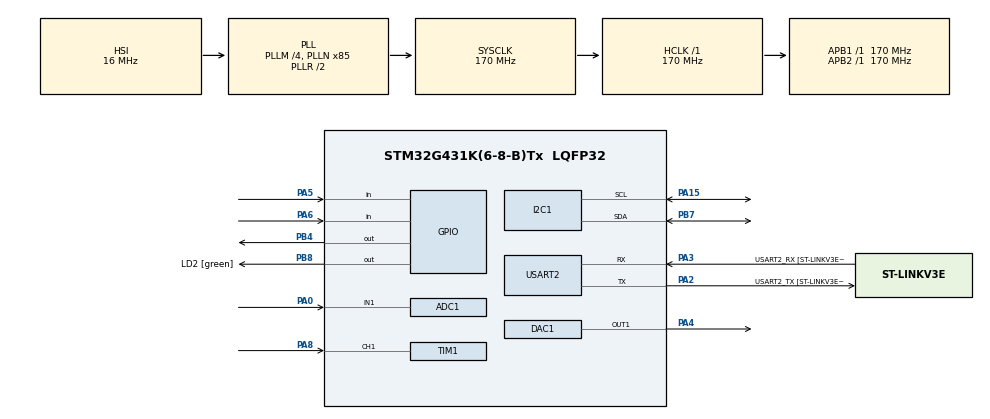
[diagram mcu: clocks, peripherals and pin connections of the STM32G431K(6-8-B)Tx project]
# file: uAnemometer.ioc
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ADC1.Channel-4\#ChannelRegularConversion=ADC_CHANNEL_1
ADC1.ClockPrescaler=ADC_CLOCK_ASYNC_DIV4
ADC1.ContinuousConvMode=DISABLE
ADC1.DMAContinuousRequests=ENABLE
ADC1.EnableInjectedConversion=DISABLE
ADC1.ExternalTrigConv=ADC_EXTERNALTRIG_T4_TRGO
ADC1.NbrOfConversionFlag=1
ADC1.OffsetNumber-4\#ChannelRegularConversion=ADC_OFFSET_NONE
ADC1.Overrun=ADC_OVR_DATA_PRESERVED
ADC1.OversamplingMode=DISABLE
ADC1.Rank-4\#ChannelRegularConversion=1
ADC1.Rank1_Channel=ADC_CHANNEL_1
ADC1.SamplingTime-4\#ChannelRegularConversion=ADC_SAMPLETIME_2CYCLES_5
ADC1.master=1
DAC1.DAC_SignedFormat-DAC_OUT1=DISABLE
DAC1.DAC_Trigger_OUT1-DAC_OUT1=DAC_TRIGGER_T2_TRGO
Dma.ADC1.4.Direction=DMA_PERIPH_TO_MEMORY
Dma.ADC1.4.EventEnable=DISABLE
Dma.ADC1.4.Instance=DMA1_Channel5
Dma.ADC1.4.MemDataAlignment=DMA_MDATAALIGN_HALFWORD
Dma.ADC1.4.MemInc=DMA_MINC_ENABLE
Dma.ADC1.4.Mode=DMA_CIRCULAR
Dma.ADC1.4.PeriphDataAlignment=DMA_PDATAALIGN_HALFWORD
Dma.ADC1.4.PeriphInc=DMA_PINC_DISABLE
Dma.ADC1.4.Polarity=HAL_DMAMUX_REQ_GEN_RISING
Dma.ADC1.4.Priority=DMA_PRIORITY_LOW
Dma.ADC1.4.RequestNumber=1
Dma.ADC1.4.SignalID=NONE
Dma.ADC1.4.SyncEnable=DISABLE
Dma.ADC1.4.SyncPolarity=HAL_DMAMUX_SYNC_NO_EVENT
Dma.ADC1.4.SyncRequestNumber=1
Dma.ADC1.4.SyncSignalID=NONE
Dma.DAC1_CH1.2.Direction=DMA_MEMORY_TO_PERIPH
Dma.DAC1_CH1.2.EventEnable=DISABLE
Dma.DAC1_CH1.2.Instance=DMA1_Channel3
Dma.DAC1_CH1.2.MemDataAlignment=DMA_MDATAALIGN_WORD
Dma.DAC1_CH1.2.MemInc=DMA_MINC_ENABLE
Dma.DAC1_CH1.2.Mode=DMA_CIRCULAR
Dma.DAC1_CH1.2.PeriphDataAlignment=DMA_PDATAALIGN_WORD
Dma.DAC1_CH1.2.PeriphInc=DMA_PINC_DISABLE
Dma.DAC1_CH1.2.Polarity=HAL_DMAMUX_REQ_GEN_RISING
Dma.DAC1_CH1.2.Priority=DMA_PRIORITY_LOW
Dma.DAC1_CH1.2.RequestNumber=1
Dma.DAC1_CH1.2.SignalID=NONE
Dma.DAC1_CH1.2.SyncEnable=DISABLE
Dma.DAC1_CH1.2.SyncPolarity=HAL_DMAMUX_SYNC_NO_EVENT
Dma.DAC1_CH1.2.SyncRequestNumber=1
Dma.DAC1_CH1.2.SyncSignalID=NONE
Dma.I2C1_TX.3.Direction=DMA_MEMORY_TO_PERIPH
Dma.I2C1_TX.3.EventEnable=DISABLE
Dma.I2C1_TX.3.Instance=DMA1_Channel4
Dma.I2C1_TX.3.MemDataAlignment=DMA_MDATAALIGN_BYTE
Dma.I2C1_TX.3.MemInc=DMA_MINC_ENABLE
Dma.I2C1_TX.3.Mode=DMA_NORMAL
Dma.I2C1_TX.3.PeriphDataAlignment=DMA_PDATAALIGN_BYTE
Dma.I2C1_TX.3.PeriphInc=DMA_PINC_DISABLE
Dma.I2C1_TX.3.Polarity=HAL_DMAMUX_REQ_GEN_RISING
Dma.I2C1_TX.3.Priority=DMA_PRIORITY_LOW
Dma.I2C1_TX.3.RequestNumber=1
Dma.I2C1_TX.3.SignalID=NONE
Dma.I2C1_TX.3.SyncEnable=DISABLE
Dma.I2C1_TX.3.SyncPolarity=HAL_DMAMUX_SYNC_NO_EVENT
Dma.I2C1_TX.3.SyncRequestNumber=1
Dma.I2C1_TX.3.SyncSignalID=NONE
Dma.Request0=TIM1_CH1
Dma.Request1=TIM1_CH2
Dma.Request2=DAC1_CH1
Dma.Request3=I2C1_TX
Dma.Request4=ADC1
Dma.Request5=USART2_RX
Dma.Request6=USART2_TX
Dma.TIM1_CH1.0.Direction=DMA_PERIPH_TO_MEMORY
Dma.TIM1_CH1.0.EventEnable=DISABLE
Dma.TIM1_CH1.0.Instance=DMA1_Channel1
Dma.TIM1_CH1.0.MemDataAlignment=DMA_MDATAALIGN_HALFWORD
Dma.TIM1_CH1.0.MemInc=DMA_MINC_ENABLE
Dma.TIM1_CH1.0.Mode=DMA_CIRCULAR
Dma.TIM1_CH1.0.PeriphDataAlignment=DMA_PDATAALIGN_HALFWORD
Dma.TIM1_CH1.0.PeriphInc=DMA_PINC_DISABLE
Dma.TIM1_CH1.0.Polarity=HAL_DMAMUX_REQ_GEN_RISING
Dma.TIM1_CH1.0.Priority=DMA_PRIORITY_HIGH
Dma.TIM1_CH1.0.RequestNumber=1
Dma.TIM1_CH1.0.SignalID=NONE
Dma.TIM1_CH1.0.SyncEnable=DISABLE
Dma.TIM1_CH1.0.SyncPolarity=HAL_DMAMUX_SYNC_NO_EVENT
Dma.TIM1_CH1.0.SyncRequestNumber=1
Dma.TIM1_CH1.0.SyncSignalID=NONE
Dma.TIM1_CH2.1.Direction=DMA_PERIPH_TO_MEMORY
Dma.TIM1_CH2.1.EventEnable=DISABLE
Dma.TIM1_CH2.1.Instance=DMA1_Channel2
Dma.TIM1_CH2.1.MemDataAlignment=DMA_MDATAALIGN_HALFWORD
Dma.TIM1_CH2.1.MemInc=DMA_MINC_ENABLE
Dma.TIM1_CH2.1.Mode=DMA_CIRCULAR
Dma.TIM1_CH2.1.PeriphDataAlignment=DMA_PDATAALIGN_HALFWORD
Dma.TIM1_CH2.1.PeriphInc=DMA_PINC_DISABLE
Dma.TIM1_CH2.1.Polarity=HAL_DMAMUX_REQ_GEN_RISING
Dma.TIM1_CH2.1.Priority=DMA_PRIORITY_HIGH
Dma.TIM1_CH2.1.RequestNumber=1
Dma.TIM1_CH2.1.SignalID=NONE
Dma.TIM1_CH2.1.SyncEnable=DISABLE
Dma.TIM1_CH2.1.SyncPolarity=HAL_DMAMUX_SYNC_NO_EVENT
Dma.TIM1_CH2.1.SyncRequestNumber=1
Dma.TIM1_CH2.1.SyncSignalID=NONE
Dma.USART2_RX.5.Direction=DMA_PERIPH_TO_MEMORY
Dma.USART2_RX.5.EventEnable=DISABLE
Dma.USART2_RX.5.Instance=DMA2_Channel2
Dma.USART2_RX.5.MemDataAlignment=DMA_MDATAALIGN_BYTE
Dma.USART2_RX.5.MemInc=DMA_MINC_ENABLE
Dma.USART2_RX.5.Mode=DMA_CIRCULAR
Dma.USART2_RX.5.PeriphDataAlignment=DMA_PDATAALIGN_BYTE
Dma.USART2_RX.5.PeriphInc=DMA_PINC_DISABLE
Dma.USART2_RX.5.Polarity=HAL_DMAMUX_REQ_GEN_RISING
Dma.USART2_RX.5.Priority=DMA_PRIORITY_LOW
Dma.USART2_RX.5.RequestNumber=1
Dma.USART2_RX.5.SignalID=NONE
Dma.USART2_RX.5.SyncEnable=DISABLE
Dma.USART2_RX.5.SyncPolarity=HAL_DMAMUX_SYNC_NO_EVENT
Dma.USART2_RX.5.SyncRequestNumber=1
Dma.USART2_RX.5.SyncSignalID=NONE
Dma.USART2_TX.6.Direction=DMA_MEMORY_TO_PERIPH
Dma.USART2_TX.6.EventEnable=DISABLE
Dma.USART2_TX.6.Instance=DMA2_Channel1
Dma.USART2_TX.6.MemDataAlignment=DMA_MDATAALIGN_BYTE
Dma.USART2_TX.6.MemInc=DMA_MINC_ENABLE
Dma.USART2_TX.6.Mode=DMA_NORMAL
Dma.USART2_TX.6.PeriphDataAlignment=DMA_PDATAALIGN_BYTE
Dma.USART2_TX.6.PeriphInc=DMA_PINC_DISABLE
Dma.USART2_TX.6.Polarity=HAL_DMAMUX_REQ_GEN_RISING
Dma.USART2_TX.6.Priority=DMA_PRIORITY_LOW
Dma.USART2_TX.6.RequestNumber=1
Dma.USART2_TX.6.SignalID=NONE
Dma.USART2_TX.6.SyncEnable=DISABLE
Dma.USART2_TX.6.SyncPolarity=HAL_DMAMUX_SYNC_NO_EVENT
Dma.USART2_TX.6.SyncRequestNumber=1
Dma.USART2_TX.6.SyncSignalID=NONE
FREERTOS.BinarySemaphores01=BinSem,Dynamic,NULL,Available
FREERTOS.Mutexes01=myMutex01,Dynamic,NULL,Available
FREERTOS.Tasks01=defaultTask,24,256,StartDefaultTask,Default,NULL,Dynamic,NULL,NULL;getTemp,16,128,StartgetTemp,Default,NULL,Dynamic,NULL,NULL;sendLCD,32,256,StartsendLCD,Default,NULL,Dynamic,NULL,NULL;getPulseW,48,256,StartgetPulseW,Default,NULL,Dynamic,NULL,NULL
FREERTOS.configTOTAL_HEAP_SIZE=4500
FREERTOS.configUSE_NEWLIB_REENTRANT=1
I2C1.Speed=100
I2C1.Timing=0x40B285C2
Mcu.Family=STM32G4
Mcu.Name=STM32G431K(6-8-B)Tx
Mcu.Package=LQFP32
NVIC.ADC1_2_IRQn=true\:5\:0\:false\:false\:true\:true\:true\:true\:true
NVIC.DMA1_Channel1_IRQn=true\:5\:0\:false\:false\:true\:true\:false\:true\:true
NVIC.DMA1_Channel2_IRQn=true\:5\:0\:false\:false\:true\:true\:false\:true\:true
NVIC.DMA1_Channel3_IRQn=true\:5\:0\:false\:false\:true\:true\:false\:true\:true
NVIC.DMA1_Channel4_IRQn=true\:5\:0\:false\:false\:true\:true\:false\:true\:true
NVIC.DMA1_Channel5_IRQn=true\:5\:0\:false\:false\:true\:true\:false\:true\:true
NVIC.DMA2_Channel1_IRQn=true\:5\:0\:false\:false\:true\:true\:false\:true\:true
NVIC.DMA2_Channel2_IRQn=true\:5\:0\:false\:false\:true\:true\:false\:true\:true
NVIC.I2C1_ER_IRQn=true\:5\:0\:false\:false\:true\:true\:true\:true\:true
NVIC.I2C1_EV_IRQn=true\:5\:0\:true\:false\:true\:true\:true\:true\:true
NVIC.PriorityGroup=NVIC_PRIORITYGROUP_4
NVIC.TIM1_CC_IRQn=true\:5\:0\:false\:false\:true\:true\:true\:true\:true
NVIC.TIM3_IRQn=true\:15\:0\:false\:false\:true\:false\:false\:true\:true
NVIC.TIM6_DAC_IRQn=true\:5\:0\:false\:false\:true\:false\:false\:true\:true
NVIC.TimeBase=TIM3_IRQn
NVIC.TimeBaseIP=TIM3
PA0.Mode=IN1-Single-Ended
PA0.Signal=ADC1_IN1
PA13.GPIO_Label=T_SWDIO
PA13.Mode=Trace_Asynchronous_SW
PA13.Signal=SYS_JTMS-SWDIO
PA14.GPIO_Label=T_SWCLK
PA14.Mode=Trace_Asynchronous_SW
PA14.Signal=SYS_JTCK-SWCLK
PA15.Mode=I2C
PA15.Signal=I2C1_SCL
PA2.GPIO_Label=USART2_TX [ST-LINKV3E_VCP_RX]
PA2.Mode=Asynchronous
PA2.Signal=USART2_TX
PA3.GPIO_Label=USART2_RX [ST-LINKV3E_VCP_TX]
PA3.Mode=Asynchronous
PA3.Signal=USART2_RX
PA4.Signal=COMP_DAC11_group
PA5.Signal=GPIO_Input
PA6.Signal=GPIO_Input
PA8.Signal=S_TIM1_CH1
PB3.GPIO_Label=T_SWO
PB3.Mode=Trace_Asynchronous_SW
PB3.Signal=SYS_JTDO-SWO
PB4.Signal=GPIO_Output
PB6.Signal=S_TIM4_CH1
PB7.Mode=I2C
PB7.Signal=I2C1_SDA
PB8-BOOT0.GPIO_Label=LD2 [green]
PB8-BOOT0.Signal=GPIO_Output
ProjectManager.HeapSize=0x200
ProjectManager.StackSize=0x400
ProjectManager.TargetToolchain=STM32CubeIDE
RCC.ADC12Freq_Value=170000000
RCC.AHBFreq_Value=170000000
RCC.APB1Freq_Value=170000000
RCC.APB1TimFreq_Value=170000000
RCC.APB2Freq_Value=170000000
RCC.APB2TimFreq_Value=170000000
RCC.CortexFreq_Value=170000000
RCC.EXTERNAL_CLOCK_VALUE=12288000
RCC.HCLKFreq_Value=170000000
RCC.HSE_VALUE=8000000
RCC.HSI48_VALUE=48000000
RCC.HSI_VALUE=16000000
RCC.LSE_VALUE=32768
RCC.PLLM=RCC_PLLM_DIV4
RCC.PLLN=85
RCC.SYSCLKFreq_VALUE=170000000
RCC.SYSCLKSource=RCC_SYSCLKSOURCE_PLLCLK
RCC.USBFreq_Value=170000000
RCC.VCOOutputFreq_Value=340000000
SH.COMP_DAC11_group.0=DAC1_OUT1,DAC_OUT1
SH.S_TIM1_CH1.0=TIM1_CH1,Input_Capture1_from_TI1
SH.S_TIM1_CH1.1=TIM1_CH1,TriggerSource_TI1FP1
SH.S_TIM4_CH1.0=TIM4_CH1
TIM1.AutoReloadPreload=TIM_AUTORELOAD_PRELOAD_ENABLE
TIM1.Channel-Input_Capture1_from_TI1=TIM_CHANNEL_1
TIM1.Channel-Input_Capture2_from_TI1_63=TIM_CHANNEL_2
TIM1.ICPolarity_CH2=TIM_INPUTCHANNELPOLARITY_FALLING
TIM1.PeriodNoDither=65536 - 1
TIM1.Prescaler=0
TIM2.Channel-Output\ Compare1\ No\ Output=TIM_CHANNEL_1
TIM2.PeriodNoDither=4-1
TIM2.Prescaler=17-1
TIM2.TIM_MasterOutputTrigger=TIM_TRGO_UPDATE
TIM4.AutoReloadPreload=TIM_AUTORELOAD_PRELOAD_ENABLE
TIM4.Channel-Output\ Compare1\ No\ Output=TIM_CHANNEL_1
TIM4.ClockDivision=TIM_CLOCKDIVISION_DIV1
TIM4.CounterMode=TIM_COUNTERMODE_UP
TIM4.PeriodNoDither=6800-1
TIM4.Prescaler=0
TIM4.PulseNoDither_1=6800/2-1
TIM4.TIM_MasterOutputTrigger=TIM_TRGO_UPDATE
USART2.DMADisableonRxErrorParam=ADVFEATURE_DMA_ENABLEONRXERROR
USART2.OneBitSampling=UART_ONE_BIT_SAMPLE_ENABLE
USART2.VirtualMode-Asynchronous=VM_ASYNC
USART2.WordLength=WORDLENGTH_8B
VP_FREERTOS_VS_CMSIS_V2.Mode=CMSIS_V2
VP_SYS_VS_DBSignals.Mode=DisableDeadBatterySignals
VP_SYS_VS_tim3.Mode=TIM3
VP_TIM1_VS_ClockSourceINT.Mode=Internal
VP_TIM1_VS_ControllerModeReset.Mode=Reset Mode
VP_TIM1_VS_indirect_ch1.Mode=Input_Capture2_from_TI1_63
VP_TIM2_VS_ClockSourceINT.Mode=Internal
VP_TIM2_VS_no_output1.Mode=Output Compare1 No Output
VP_TIM4_VS_ClockSourceINT.Mode=Internal
VP_TIM4_VS_no_output1.Mode=Output Compare1 No Output
board=NUCLEO-G431KB

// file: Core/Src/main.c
/* USER CODE BEGIN Header */
/**
  ******************************************************************************
  * @file           : main.c
  * @brief          : Main program body
  ******************************************************************************
  * @attention
  *
  * Copyright (c) 2024 STMicroelectronics.
  * All rights reserved.
  *
  * This software is licensed under terms that can be found in the LICENSE file
  * in the root directory of this software component.
  * If no LICENSE file comes with this software, it is provided AS-IS.
  *
  ******************************************************************************
  */
/* USER CODE END Header */
#include "main.h"
#include "cmsis_os.h"

/* USER CODE BEGIN Includes */
#include "stdio.h"
#include <stdlib.h>
#include <inttypes.h>
#include <stdbool.h>
#include "math.h"
#include "i2c-lcd.h"

/*
#include "FreeRTOS.h"
#include "task.h"
//#include "timers.h"
#include "queue.h"
#include "semphr.h"
*/
//#include "event_groups.h"
/* USER CODE END Includes */

/* USER CODE BEGIN PD */
#define nShutdownDampHigh HAL_GPIO_WritePin(GPIOB, GPIO_PIN_4, GPIO_PIN_SET)
#define nShutdownDampLow HAL_GPIO_WritePin(GPIOB, GPIO_PIN_4, GPIO_PIN_RESET)

/* USER CODE END PD */

ADC_HandleTypeDef hadc1;
DMA_HandleTypeDef hdma_adc1;

DAC_HandleTypeDef hdac1;
DMA_HandleTypeDef hdma_dac1_ch1;

I2C_HandleTypeDef hi2c1;
DMA_HandleTypeDef hdma_i2c1_tx;

TIM_HandleTypeDef htim1;
TIM_HandleTypeDef htim2;
TIM_HandleTypeDef htim4;
DMA_HandleTypeDef hdma_tim1_ch1;
DMA_HandleTypeDef hdma_tim1_ch2;

UART_HandleTypeDef huart2;
DMA_HandleTypeDef hdma_usart2_rx;
DMA_HandleTypeDef hdma_usart2_tx;

/* Definitions for defaultTask */
osThreadId_t defaultTaskHandle;
const osThreadAttr_t defaultTask_attributes = {
  .name = "defaultTask",
  .priority = (osPriority_t) osPriorityNormal,
  .stack_size = 256 * 4
};
/* Definitions for getTemp */
osThreadId_t getTempHandle;
const osThreadAttr_t getTemp_attributes = {
  .name = "getTemp",
  .priority = (osPriority_t) osPriorityBelowNormal,
  .stack_size = 128 * 4
};
/* Definitions for sendLCD */
osThreadId_t sendLCDHandle;
const osThreadAttr_t sendLCD_attributes = {
  .name = "sendLCD",
  .priority = (osPriority_t) osPriorityAboveNormal,
  .stack_size = 256 * 4
};
/* Definitions for getPulseW */
/*osThreadId_t getPulseWHandle;
const osThreadAttr_t getPulseW_attributes = {
  .name = "getPulseW",
  .priority = (osPriority_t) osPriorityRealtime,
  .stack_size = 256 * 4
};*/
/* Definitions for myMutex01 */
osMutexId_t myMutex01Handle;
const osMutexAttr_t myMutex01_attributes = {
  .name = "myMutex01"
};
/* Definitions for BinSem */
osSemaphoreId_t BinSemHandle;
const osSemaphoreAttr_t BinSem_attributes = {
  .name = "BinSem"
};
/* USER CODE BEGIN PV */
__IO uint16_t   aADCxConvertedData[ADC_CONVERTED_DATA_BUFFER_SIZE]; /* ADC conversion results table of regular group, channel on rank1 */
__IO uint16_t   uhADCxConvertedData_Injected;                        /* ADC conversion result of injected group, channel on rank1 */

__IO uint16_t   uhADCxConvertedData_Regular_Avg;       /* The average of the ADC conversion results table of regular group, channel on rank1 */

/* USER CODE END PV */

void SystemClock_Config(void);
static void MX_GPIO_Init(void);
static void MX_DMA_Init(void);
static void MX_USART2_UART_Init(void);
static void MX_TIM4_Init(void);
static void MX_TIM1_Init(void);
static void MX_ADC1_Init(void);
static void MX_DAC1_Init(void);
static void MX_TIM2_Init(void);
static void MX_I2C1_Init(void);
void StartDefaultTask(void *argument);
void StartgetTemp(void *argument);
void StartsendLCD(void *argument);
void StartgetPulseW(void *argument);

/* USER CODE BEGIN PFP */
void blinkLED ();								//blink the led function
char *scanInp(void);							//scan user input to toggle the state machine
//void startSpeaker(bool start);			//start speaker function for pwm squared wave output.  replaced by dac sine wave.
float *calTime(void);						//calculate the time delay, currently not in used
float *delta_T_alg (float pulseW);		//calculate the delta T using a paper's algorithm, but it is not very useful
float *getTemp(void);						//adc calculate temperature
void startSineW(bool start);				//start the dac sinewave
void lcd_disp(void);							//lcd display
void adc_dma(void);						//adc dma

#define PUTCHAR_PROTOTYPE int __io_putchar(int ch)
#define __USE_C99_MATH

//data buffer for rising and falling DMA
#define numval 1
#define TIMCLOCK 170000000
#define PSCALAR 16
#define MIN(a,b) ((a) < (b) ? (a) : (b))
#define MAX(a,b) ((a) > (b) ? (a) : (b))

int riseCaptured = 0;
int fallCaptured = 0;
uint32_t riseData[numval];
uint32_t fallData[numval];
int isMeasured = 0;

/* USER CODE END PFP */

/* USER CODE BEGIN 0 */

//parameter for pulse width cal
float tim1, tim2;
uint8_t IsFirstCaptured = 0;
//100ns per tick when fclk = 10Mhz; // 5.882ns/tick if 170Mhz clock; //23.52ns/tick at 42.5MHz; 29.41ns/tick @34Mhz; 21.25Mhz @47.06ns/tick
float timeFactor = 58.82; //17mhz @ 58.82ns ; at10.625Mhz, 94.12ns/ tick
float deltaT = 0;
float pulseW = 0;

#define DIST  0.02 					// dist = 0.02m
#define FREQ 22000.0  				//11khz from the pll chip  , but sound freq is 22khz
float cal_val = 0;						//calibrated value - usually its the path difference.
float v_sound = 343; 				// speed of sound  is 343m/s, will need to incorporate temperature here,  c = 331+0.61T,
float lambda = 0;						//wavelength of the sound depending on temperature
float temp = 0;							//temperature of the air
float pathDiff = 0;  					//k = 0.7288 , d/lambda,  if d=0.2m, k=22.75,  *made pathDiff to 1 eliminated for testing, k=0.881 by experiment
float windspeed = 0;					// the wind velocity

//code for getchar and putchar properly display
/*volatile uint32_t gGetCharCount = 0;
int __io_getchar(void)
{
	++gGetCharCount;
	return 42;
}*/

/*void HAL_TIM_PeriodElapsedCallback(TIM_HandleTypeDef *htim){
	HAL_GPIO_TogglePin(GPIOB, GPIO_PIN_6); //pin 6 are for rising edges
}*/

void blinkLED ()
{
	HAL_GPIO_TogglePin(LD2_GPIO_Port, LD2_Pin);
	HAL_Delay(500);
	return;
}
//usart in dma mode
uint8_t RxData[1];
int HTC = 0, FTC = 0;

char inp;

void HAL_UART_RxHalfCpltCallback(UART_HandleTypeDef *huart)
{
	HTC=1;  // half transfer complete callback was called
	FTC=0;
}
void HAL_UART_RxCpltCallback(UART_HandleTypeDef *huart)
{
	  HTC=0;
	  FTC=1;
}

void uart_dma(void);
void uart_dma(void)
{
	HAL_UARTEx_ReceiveToIdle_DMA(&huart2, RxData, 1);
	HAL_UART_Transmit_DMA(&huart2, RxData, 1);

/*	    if (HTC==1)
	    {
	      HTC = 0;
	      HAL_UART_DMAStop(&huart2);
	      //HAL_UART_Receive_DMA(&huart2, RxData, 1);
	      HAL_UARTEx_ReceiveToIdle_DMA(&huart2, RxData, 1);
	    }

	  else if (FTC==1)
	  {
	     FTC = 0;
	     HAL_UART_DMAStop(&huart2);
	    // HAL_UART_Receive_DMA(&huart2, RxData, 1);
	     HAL_UARTEx_ReceiveToIdle_DMA(&huart2, RxData, 1);
	  }
	  else
	  	  {
	  		  HTC = 0;
	  		  FTC = 0;
	  		  HAL_UART_DMAStop(&huart2);
	  		  //HAL_UART_Receive_DMA(&huart2, RxData, 1);
	  		HAL_UARTEx_ReceiveToIdle_DMA(&huart2, RxData, 1);
	  	  }*/
	    inp = RxData[0];
}

// using putchar and getchar
char *scanInp(void)
{
	char *ch_buf = malloc (sizeof (char) * 1);
	scanf("%1s", ch_buf);
	//printf("you have entered %s\n\r", ch_buf);   //no longer need to print what have entered
	return ch_buf;
}

//function to start and stop the speaker
/*void startSpeaker(bool start)
{
	if (!start){
		  //start pwm for 25khz - freq = (fmas/psc)/period
		  //HAL_TIM_PWM_Start(&htim4, TIM_CHANNEL_1);  //start TIM4 pwm ch1 - macro expan 0x00000000U
		  //HAL_GPIO_WritePin(GPIOB, GPIO_PIN_4, GPIO_PIN_SET);
		  nShutdownDampLow;
	}
	else {
		nShutdownDampHigh;
		//HAL_TIM_PWM_Stop(&htim4, TIM_CHANNEL_1);
	}
	  return;
}*/

//put char prototype for printf function
/*

 PUTCHAR_PROTOTYPE
{
   //Place your implementation of fputc here
  // e.g. write a character to the USART1 and Loop until the end of transmission
  HAL_UART_Transmit(&huart2, (uint8_t *)&ch, 1, 0xFFFF);  //use dma to speed it up
//	HAL_UART_Transmit_DMA(&huart2, (uint8_t *)&ch, 1);
  return ch;
}

//prototype for scanf function************************************************

#ifdef __GNUC__
#define GETCHAR_PROTOTYPE int __io_getchar(void)
#else
#define GETCHAR_PROTOTYPE int fgetc(FILE *f)
#endif

GETCHAR_PROTOTYPE
{
  uint8_t ch = 0;
  // Clear the Overrun flag just before receiving the first character
  __HAL_UART_CLEAR_OREFLAG(&huart2);
   //Wait for reception of a character on the USART RX line and echo this
   // character on console
  HAL_UART_Receive(&huart2, (uint8_t *)&ch, 1, 100);
  HAL_UART_Transmit(&huart2, (uint8_t *)&ch, 1, 100);
//  HAL_UART_Receive_DMA(&huart2, &ch, 1);
//  HAL_UART_Transmit_DMA(&huart2, &ch, 1);

  return ch;
}
*/

/************************************************************************************/

// a callback function ** not sure where the pin capture is used for this callback  -- this needs another approach
//this uses change 1 to measure the rising and falling edges without DMA
/*void HAL_TIM_IC_CaptureCallback(TIM_HandleTypeDef *htim)
{

	if (htim->Channel == HAL_TIM_ACTIVE_CHANNEL_1)
	{
		if (IsFirstCaptured == 0)
		{
			tim1 = HAL_TIM_ReadCapturedValue(htim, TIM_CHANNEL_1);
			IsFirstCaptured = 1;
			//__HAL_TIM_SET_CAPTUREPOLARITY(htim, TIM_CHANNEL_1, TIM_INPUTCHANNELPOLARITY_FALLING);
		}
		else
		{
			tim2 = HAL_TIM_ReadCapturedValue(htim, TIM_CHANNEL_1);
			//__HAL_TIM_SET_COUNTER(htim, 0);
			if (tim2 > tim1)
			{
				deltaT = tim2 - tim1;
			}
			else if (tim1 > tim2)
			{
				deltaT = (0xffff  - tim1) + tim2;
			}

			pulseW = deltaT * (float)(timeFactor/1000000000.f);
			//windspeed = DIST/(pulseW*cal_val);  //d/(t*path diff)

			__HAL_TIM_SET_COUNTER(htim, 0);
			IsFirstCaptured = 0;
			//__HAL_TIM_SET_CAPTUREPOLARITY(htim, TIM_CHANNEL_1, TIM_INPUTCHANNELPOLARITY_RISING);
			//__HAL_TIM_DISABLE_IT(&htim1, TIM_IT_CC1);
		}
	}
}*/

void pulseWavg (float pulse_in);
//calculate the pulseW average  - this is to remove the noise and jittering in the pulse - oct 22, 2024
float pulseW_arr[100];
float pulseW_avg = 0;
uint8_t i = 0 ;float sum = 0;
float pulseW_base = 0;
float realDelay = 0;
float pulseW_min = 0;
float pulseW_min_arr[10];
float pulseW_max = 0;
float pulseW_max_arr[10];
void pulseWavg (float pulse_in)
{
	if (pulse_in >= 0.000008 && pulse_in <=0.000180)
	{
		for (i = 0; i < 100; i++)
		{
			pulseW_arr[i] =roundf( pulse_in*10000000)/10000000;
			sum += pulseW_arr[i];
			//pulseW_min = MIN(pulseW_arr[i], pulseW_arr[i-1]);
			//pulseW_min_arr[i] = pulseW_min;
			//pulseW_max = MAX (pulseW_arr[i], pulseW_arr[i-1]);
			//pulseW_max_arr[i] = pulseW_max;
		}
		pulseW_avg = sum/100.f;

		//realDelay = *delta_T_alg(pulseW_avg);

		//windspeed = roundf (fabs((DIST/(realDelay * cal_val)) - v_sound)*10)/10; //abs converts to int
		windspeed = roundf((fabs(DIST/(pulseW_avg*cal_val) - DIST/(pulseW_base*cal_val)))*100)/100;
		sum = 0;
/*		if ( i < 10)
		{
			pulseW_arr[i] = pulse_in;
			sum += pulseW_arr[i];
			i++;
			if (i == 9)
			{
				pulseW_avg = sum/10.f;
				windspeed = roundf (fabs((DIST/(pulseW_avg*cal_val)) - v_sound)*10)/10; //abs converts to int
			}
		}
		if (i > 9 )
		{
			i = 0;
			sum = 0;
		}*/

	}
}

//time difference algorithm taking from a paper, but it is not very useful and it is not in used
float T = 1/FREQ;
float pluseW_pre =0;
float deltaT_pre = 0;
float deltaT_prim = 0;

float *delta_T_alg (float deltaT)
{
	//T = 1/FREQ;
	if (deltaT <= deltaT_pre/1000000000 + T)
	{
		deltaT_prim = deltaT;
	}
	else {
		deltaT_prim = deltaT - T;
	}
	deltaT_pre = deltaT_prim;
	return &deltaT_pre;
}

float pll_pulsePeriod;
//Tim1 input capture callback function for calculating the pulseW
void HAL_TIM_IC_CaptureCallback(TIM_HandleTypeDef *htim)
{
	/*The way it works, is that rising edge of PWM signal on TIM1_CH1 pin captures PWM period in CC1 and resets timer to 0. The falling edge of the 	same signal captures pulse length in CC2. The DMA then transfers captured values into two memory locations. Since DMA is configured in circular 	mode next capture will override previous values in the same locations.*/
	pll_pulsePeriod = HAL_TIM_ReadCapturedValue(htim, TIM_CHANNEL_1);  //TIM1_CH1 pin captures PWM period in CC1 and resets timer to 0.
	deltaT	= HAL_TIM_ReadCapturedValue(htim, TIM_CHANNEL_2); //The falling edge of the same signal captures pulse length in CC2
	pulseW = deltaT * (float)(timeFactor/1000000000.f);

	}

/*void windspeed_ave(void);

void windspeed_ave (void)
{
	float sum = 0;
	//need more work
	for (uint8_t j = 0; j <=99; j++)
	{
			windspeed_arr[j] = windspeed;
			sum += windspeed_arr[j];
	}
	windpseed_avg = sum/100;
}*/

//adc in dma mode -get adc value for temperature

uint32_t adc_val[1];
void adc_dma(void)
{
	// calibrate ADC for better accuracy and start it w/ interrupt
	 if(HAL_ADCEx_Calibration_Start(&hadc1, ADC_SINGLE_ENDED) != HAL_OK)
	 {
		 Error_Handler();
	}
	 /*if(HAL_ADC_Start_IT(&hadc1) != HAL_OK)
	 {
	 	 Error_Handler();
	}*/
	 // start pwm generation
	if(HAL_TIM_PWM_Start(&htim4, TIM_CHANNEL_1) != HAL_OK)
	{
		Error_Handler();
	 }
	if(HAL_ADC_Start_DMA(&hadc1, (uint32_t*)adc_val, 1) != HAL_OK)
	 {
		Error_Handler();
	}
	HAL_ADCEx_Calibration_Start(&hadc1, ADC_SINGLE_ENDED);
	HAL_ADC_Start_DMA(&hadc1, (uint32_t*)adc_val, 1);

	HAL_TIM_PWM_Start(&htim4, TIM_CHANNEL_1);
	return;
}

#define V_REF 3300 // mV
#define OFFSET 0.5
float adc_val_f;

float *getTemp(void)
{
	float reading_mV = 0;
	//HAL_ADC_Start_IT(&hadc1); //start the adc in interrupt mode
	//HAL_ADC_Start_DMA(&hadc1, &buffer, 1);  //start in DMA mode

	//using polling method***********************************/
/*
	HAL_ADC_Start(&hadc1); // start the adc
	HAL_ADC_PollForConversion(&hadc1, 100); // poll for conversion
	adc_val = HAL_ADC_GetValue(&hadc1); // get the adc value
	temp = (adc_val/4095) *(125-40);
	HAL_ADC_Stop(&hadc1); // stop adc
*/
	/********************************************************************/
	//usig DMA method
	//HAL_ADCEx_Calibration_Start(&hadc1, ADC_SINGLE_ENDED);
	//HAL_ADC_Start_DMA(&hadc1, (uint32_t*)&adc_val, 1);
	//adc_val_f = adc_val[0];
//	HAL_ADC_Start_DMA(&hadc1, (uint32_t*)&adc_val, 1);
	//temp = (adc_val_f/4095) *(125 - -40);
	reading_mV = adc_val[0] *  V_REF  / 4095 ;
	temp = roundf((reading_mV - 500) / 10); // 10mV/degree_C
	return &temp;
}

//dac sine wave for the 25khz ultrasonic speaker
//dac sine**************************************************/
uint32_t sine_val[100];
#define PI 3.1415926
float dac_val = 1.2;
uint32_t var;
float k = 0.0; // wave number
void startSineW(bool start)
{
	if (!start)
	{
		//HAL_TIM_Base_Stop(&htim2);
		HAL_DAC_Stop_DMA(&hdac1, DAC1_CHANNEL_1);
	}
	else {
		 //HAL_TIM_Base_Start(&htim2);
		 HAL_DAC_Start_DMA(&hdac1, DAC1_CHANNEL_1, sine_val, 100, DAC_ALIGN_12B_R);
		 for (int i = 0; i < 100; i++)
		 {
			 sine_val[i] = ((sin(i*2*PI/100) + 1)*(4096/2));
		 }
	}
}
/******************************************************************/

// lcd display*****************************************************/  something is wrong with this lcd code, need to fix the buffering from flooding while not affecting the pulse width measurement
//char *fltChar = malloc (sizeof (char) * 8);

void lcd_disp(void)
{
	//char * fltChar = malloc (sizeof (char) * 8);
	//char *fltChar2 = malloc (sizeof(char) * 7);

	//lcd_send_cmd (0x80);
	char fltChar [8];
	sprintf(fltChar, "%.4f", windspeed);
	lcd_put_cur(0,11);

	//lcd_send_string("Windspeed=");
	//lcd_send_data((windspeed/10) +48);
	lcd_send_string(fltChar);
	lcd_send_string(" ");

/*	sprintf(fltChar2, "%.6f", pulseW);
	lcd_put_cur(1,8);
	lcd_send_string (fltChar2);
	lcd_send_string(" ");*/
	//lcd_put_cur(1,0);
	//lcd_send_string("m/s");
	osDelay(500);
	return;
}
/********************************************************************/

 enum State {IDLE = 0, START = 1, CALTIME = 2, STOP = 3}; //define the number of states
 char State = IDLE;

/* void SemaphorTake ()
 {
	 HAL_Delay(200);
 }*/

/* USER CODE END 0 */

int main(void)
{

  /* USER CODE BEGIN 1 */

	setvbuf(stdin, NULL, _IONBF, 0);

//	lambda = v_sound/FREQ;  //wavelength
//	pathDiff = (DIST/lambda)-0.5;  //destructive interference, L/lambda-0.5=delta_L

  /* USER CODE END 1 */

  /* MCU Configuration--------------------------------------------------------*/

  /* Reset of all peripherals, Initializes the Flash interface and the Systick. */
  HAL_Init();

  /* Configure the system clock */
  SystemClock_Config();

  /* Initialize all configured peripherals */
  MX_GPIO_Init();
  MX_DMA_Init();
  MX_USART2_UART_Init();
  MX_TIM4_Init();
  MX_TIM1_Init();
  MX_ADC1_Init();
  MX_DAC1_Init();
  MX_TIM2_Init();
  MX_I2C1_Init();
  /* USER CODE BEGIN 2 */
  //HAL_TIM_IC_Start_IT(&htim1, TIM_CHANNEL_1);

	HAL_TIM_IC_Start_DMA(&htim1, TIM_CHANNEL_1, riseData, numval); //this starts the DMA process for TIM1 input capture - CC1 is period
	HAL_TIM_IC_Start_DMA(&htim1, TIM_CHANNEL_2, fallData, numval); //this starts the DMA process for TIM1 input capture - CC2 is pulse duration

  //say something
  //uart_buf_len = sprintf(uart_buf, "Timer test\r\n");
  //HAL_UART_Transmit(&huart2, (uint8_t *)uart_buf, uart_buf_len, 100);

  //start pwm timer
  //HAL_TIM_PWM_Start(&htim4, TIM_CHANNEL_1);  //start TIM4 pwm ch1 - macro expan 0x00000000U

  lcd_init(); 														//initialize the lcd
  //start timer 2 for the sinewave
  HAL_TIM_Base_Start(&htim2);

  //start adc dma
  adc_dma();
  //start uarat dma
  //HAL_UART_Receive_DMA(&huart2, RxData, 1);
  uart_dma();

  //preprint something on the lcd
  lcd_put_cur(0,0);
  lcd_send_string("W_vel[m/s]=");

  /* USER CODE END 2 */

  /* Init scheduler */
  osKernelInitialize();
  /* Create the mutex(es) */
  /* creation of myMutex01 */
  myMutex01Handle = osMutexNew(&myMutex01_attributes);

  /* Create the semaphores(s) */
  /* creation of BinSem */
  BinSemHandle = osSemaphoreNew(1, 1, &BinSem_attributes);

  /* Create the thread(s) */
  /* creation of defaultTask */
  defaultTaskHandle = osThreadNew(StartDefaultTask, NULL, &defaultTask_attributes);

  /* creation of getTemp */
  getTempHandle = osThreadNew(StartgetTemp, NULL, &getTemp_attributes);

  /* creation of sendLCD */
  sendLCDHandle = osThreadNew(StartsendLCD, NULL, &sendLCD_attributes);

  /* creation of getPulseW */
//  getPulseWHandle = osThreadNew(StartgetPulseW, NULL, &getPulseW_attributes);

  /* Start scheduler */
  osKernelStart();

  /* We should never get here as control is now taken by the scheduler */

  /* Infinite loop */
  /* USER CODE BEGIN WHILE */
  while (1)
  {
	  //blinkLED();  //call the blinkLED function - disable the blink to save processing power

    /* USER CODE END WHILE */

  }
}

void SystemClock_Config(void)
{
  RCC_OscInitTypeDef RCC_OscInitStruct = {0};
  RCC_ClkInitTypeDef RCC_ClkInitStruct = {0};

  /** Configure the main internal regulator output voltage
  */
  HAL_PWREx_ControlVoltageScaling(PWR_REGULATOR_VOLTAGE_SCALE1_BOOST);

  /** Initializes the RCC Oscillators according to the specified parameters
  * in the RCC_OscInitTypeDef structure.
  */
  RCC_OscInitStruct.OscillatorType = RCC_OSCILLATORTYPE_HSI;
  RCC_OscInitStruct.HSIState = RCC_HSI_ON;
  RCC_OscInitStruct.HSICalibrationValue = RCC_HSICALIBRATION_DEFAULT;
  RCC_OscInitStruct.PLL.PLLState = RCC_PLL_ON;
  RCC_OscInitStruct.PLL.PLLSource = RCC_PLLSOURCE_HSI;
  RCC_OscInitStruct.PLL.PLLM = RCC_PLLM_DIV4;
  RCC_OscInitStruct.PLL.PLLN = 85;
  RCC_OscInitStruct.PLL.PLLP = RCC_PLLP_DIV2;
  RCC_OscInitStruct.PLL.PLLQ = RCC_PLLQ_DIV2;
  RCC_OscInitStruct.PLL.PLLR = RCC_PLLR_DIV2;
  if (HAL_RCC_OscConfig(&RCC_OscInitStruct) != HAL_OK)
  {
    Error_Handler();
  }

  /** Initializes the CPU, AHB and APB buses clocks
  */
  RCC_ClkInitStruct.ClockType = RCC_CLOCKTYPE_HCLK|RCC_CLOCKTYPE_SYSCLK
                              |RCC_CLOCKTYPE_PCLK1|RCC_CLOCKTYPE_PCLK2;
  RCC_ClkInitStruct.SYSCLKSource = RCC_SYSCLKSOURCE_PLLCLK;
  RCC_ClkInitStruct.AHBCLKDivider = RCC_SYSCLK_DIV1;
  RCC_ClkInitStruct.APB1CLKDivider = RCC_HCLK_DIV1;
  RCC_ClkInitStruct.APB2CLKDivider = RCC_HCLK_DIV1;

  if (HAL_RCC_ClockConfig(&RCC_ClkInitStruct, FLASH_LATENCY_4) != HAL_OK)
  {
    Error_Handler();
  }
}

static void MX_ADC1_Init(void)
{

  ADC_MultiModeTypeDef multimode = {0};
  ADC_ChannelConfTypeDef sConfig = {0};

  /** Common config
  */
  hadc1.Instance = ADC1;
  hadc1.Init.ClockPrescaler = ADC_CLOCK_ASYNC_DIV4;
  hadc1.Init.Resolution = ADC_RESOLUTION_12B;
  hadc1.Init.DataAlign = ADC_DATAALIGN_RIGHT;
  hadc1.Init.GainCompensation = 0;
  hadc1.Init.ScanConvMode = ADC_SCAN_DISABLE;
  hadc1.Init.EOCSelection = ADC_EOC_SINGLE_CONV;
  hadc1.Init.LowPowerAutoWait = DISABLE;
  hadc1.Init.ContinuousConvMode = DISABLE;
  hadc1.Init.NbrOfConversion = 1;
  hadc1.Init.DiscontinuousConvMode = DISABLE;
  hadc1.Init.ExternalTrigConv = ADC_EXTERNALTRIG_T4_TRGO;
  hadc1.Init.ExternalTrigConvEdge = ADC_EXTERNALTRIGCONVEDGE_RISING;
  hadc1.Init.DMAContinuousRequests = ENABLE;
  hadc1.Init.Overrun = ADC_OVR_DATA_PRESERVED;
  hadc1.Init.OversamplingMode = DISABLE;
  if (HAL_ADC_Init(&hadc1) != HAL_OK)
  {
    Error_Handler();
  }

  /** Configure the ADC multi-mode
  */
  multimode.Mode = ADC_MODE_INDEPENDENT;
  if (HAL_ADCEx_MultiModeConfigChannel(&hadc1, &multimode) != HAL_OK)
  {
    Error_Handler();
  }

  /** Configure Regular Channel
  */
  sConfig.Channel = ADC_CHANNEL_1;
  sConfig.Rank = ADC_REGULAR_RANK_1;
  sConfig.SamplingTime = ADC_SAMPLETIME_2CYCLES_5;
  sConfig.SingleDiff = ADC_SINGLE_ENDED;
  sConfig.OffsetNumber = ADC_OFFSET_NONE;
  sConfig.Offset = 0;
  if (HAL_ADC_ConfigChannel(&hadc1, &sConfig) != HAL_OK)
  {
    Error_Handler();
  }

}

static void MX_DAC1_Init(void)
{

  DAC_ChannelConfTypeDef sConfig = {0};

  /** DAC Initialization
  */
  hdac1.Instance = DAC1;
  if (HAL_DAC_Init(&hdac1) != HAL_OK)
  {
    Error_Handler();
  }

  /** DAC channel OUT1 config
  */
  sConfig.DAC_HighFrequency = DAC_HIGH_FREQUENCY_INTERFACE_MODE_AUTOMATIC;
  sConfig.DAC_DMADoubleDataMode = DISABLE;
  sConfig.DAC_SignedFormat = DISABLE;
  sConfig.DAC_SampleAndHold = DAC_SAMPLEANDHOLD_DISABLE;
  sConfig.DAC_Trigger = DAC_TRIGGER_T2_TRGO;
  sConfig.DAC_Trigger2 = DAC_TRIGGER_NONE;
  sConfig.DAC_OutputBuffer = DAC_OUTPUTBUFFER_ENABLE;
  sConfig.DAC_ConnectOnChipPeripheral = DAC_CHIPCONNECT_EXTERNAL;
  sConfig.DAC_UserTrimming = DAC_TRIMMING_FACTORY;
  if (HAL_DAC_ConfigChannel(&hdac1, &sConfig, DAC_CHANNEL_1) != HAL_OK)
  {
    Error_Handler();
  }

}

static void MX_I2C1_Init(void)
{

  hi2c1.Instance = I2C1;
  hi2c1.Init.Timing = 0x40B285C2;
  hi2c1.Init.OwnAddress1 = 0;
  hi2c1.Init.AddressingMode = I2C_ADDRESSINGMODE_7BIT;
  hi2c1.Init.DualAddressMode = I2C_DUALADDRESS_DISABLE;
  hi2c1.Init.OwnAddress2 = 0;
  hi2c1.Init.OwnAddress2Masks = I2C_OA2_NOMASK;
  hi2c1.Init.GeneralCallMode = I2C_GENERALCALL_DISABLE;
  hi2c1.Init.NoStretchMode = I2C_NOSTRETCH_DISABLE;
  if (HAL_I2C_Init(&hi2c1) != HAL_OK)
  {
    Error_Handler();
  }

  /** Configure Analogue filter
  */
  if (HAL_I2CEx_ConfigAnalogFilter(&hi2c1, I2C_ANALOGFILTER_ENABLE) != HAL_OK)
  {
    Error_Handler();
  }

  /** Configure Digital filter
  */
  if (HAL_I2CEx_ConfigDigitalFilter(&hi2c1, 0) != HAL_OK)
  {
    Error_Handler();
  }

}

static void MX_TIM1_Init(void)
{

  TIM_ClockConfigTypeDef sClockSourceConfig = {0};
  TIM_SlaveConfigTypeDef sSlaveConfig = {0};
  TIM_MasterConfigTypeDef sMasterConfig = {0};
  TIM_IC_InitTypeDef sConfigIC = {0};

  /* USER CODE BEGIN TIM1_Init 1 */
 // timer for PLL pulse width input capture. If we use prescaler 0, fclk = 170Mhz, then 5.882ns/tick
  // presc = 4-1, then fclk = 42.5mhz, then 2.3529E-8s/tick // presc = 5-1, fclk = 34Mhz, then 29.41ns/
  /* USER CODE END TIM1_Init 1 */
  htim1.Instance = TIM1;
  htim1.Init.Prescaler = 10-1;
  htim1.Init.CounterMode = TIM_COUNTERMODE_UP;
  htim1.Init.Period = 65535;
  htim1.Init.ClockDivision = TIM_CLOCKDIVISION_DIV1;
  htim1.Init.RepetitionCounter = 0;
  htim1.Init.AutoReloadPreload = TIM_AUTORELOAD_PRELOAD_ENABLE;
  if (HAL_TIM_Base_Init(&htim1) != HAL_OK)
  {
    Error_Handler();
  }
  sClockSourceConfig.ClockSource = TIM_CLOCKSOURCE_INTERNAL;
  if (HAL_TIM_ConfigClockSource(&htim1, &sClockSourceConfig) != HAL_OK)
  {
    Error_Handler();
  }
  if (HAL_TIM_IC_Init(&htim1) != HAL_OK)
  {
    Error_Handler();
  }
  sSlaveConfig.SlaveMode = TIM_SLAVEMODE_RESET;
  sSlaveConfig.InputTrigger = TIM_TS_TI1FP1;
  sSlaveConfig.TriggerPolarity = TIM_INPUTCHANNELPOLARITY_RISING;
  sSlaveConfig.TriggerFilter = 0;
  if (HAL_TIM_SlaveConfigSynchro(&htim1, &sSlaveConfig) != HAL_OK)
  {
    Error_Handler();
  }
  sMasterConfig.MasterOutputTrigger = TIM_TRGO_RESET;
  sMasterConfig.MasterOutputTrigger2 = TIM_TRGO2_RESET;
  sMasterConfig.MasterSlaveMode = TIM_MASTERSLAVEMODE_DISABLE;
  if (HAL_TIMEx_MasterConfigSynchronization(&htim1, &sMasterConfig) != HAL_OK)
  {
    Error_Handler();
  }
  sConfigIC.ICPolarity = TIM_INPUTCHANNELPOLARITY_RISING;
  sConfigIC.ICSelection = TIM_ICSELECTION_DIRECTTI;
  sConfigIC.ICPrescaler = TIM_ICPSC_DIV1;
  sConfigIC.ICFilter = 0;
  if (HAL_TIM_IC_ConfigChannel(&htim1, &sConfigIC, TIM_CHANNEL_1) != HAL_OK)
  {
    Error_Handler();
  }
  sConfigIC.ICPolarity = TIM_INPUTCHANNELPOLARITY_FALLING;
  sConfigIC.ICSelection = TIM_ICSELECTION_INDIRECTTI;
  if (HAL_TIM_IC_ConfigChannel(&htim1, &sConfigIC, TIM_CHANNEL_2) != HAL_OK)
  {
    Error_Handler();
  }

}

static void MX_TIM2_Init(void)
{

  /* USER CODE BEGIN TIM2_Init 0 */
	//this is used to generate a sinewave, f_sys_clk/(prescalar * 100)/4 = 25khz
	//x*y = 77, prescalar = 1, period =77 to get 22khz,
  /* USER CODE END TIM2_Init 0 */

  TIM_ClockConfigTypeDef sClockSourceConfig = {0};
  TIM_MasterConfigTypeDef sMasterConfig = {0};
  TIM_OC_InitTypeDef sConfigOC = {0};

  htim2.Instance = TIM2;
  htim2.Init.Prescaler = 11-1;
  htim2.Init.CounterMode = TIM_COUNTERMODE_UP;
  htim2.Init.Period = 7-1;
  htim2.Init.ClockDivision = TIM_CLOCKDIVISION_DIV1;
  htim2.Init.AutoReloadPreload = TIM_AUTORELOAD_PRELOAD_DISABLE;
  if (HAL_TIM_Base_Init(&htim2) != HAL_OK)
  {
    Error_Handler();
  }
  sClockSourceConfig.ClockSource = TIM_CLOCKSOURCE_INTERNAL;
  if (HAL_TIM_ConfigClockSource(&htim2, &sClockSourceConfig) != HAL_OK)
  {
    Error_Handler();
  }
  if (HAL_TIM_OC_Init(&htim2) != HAL_OK)
  {
    Error_Handler();
  }
  sMasterConfig.MasterOutputTrigger = TIM_TRGO_UPDATE;
  sMasterConfig.MasterSlaveMode = TIM_MASTERSLAVEMODE_DISABLE;
  if (HAL_TIMEx_MasterConfigSynchronization(&htim2, &sMasterConfig) != HAL_OK)
  {
    Error_Handler();
  }
  sConfigOC.OCMode = TIM_OCMODE_TIMING;
  sConfigOC.Pulse = 0;
  sConfigOC.OCPolarity = TIM_OCPOLARITY_HIGH;
  sConfigOC.OCFastMode = TIM_OCFAST_DISABLE;
  if (HAL_TIM_OC_ConfigChannel(&htim2, &sConfigOC, TIM_CHANNEL_1) != HAL_OK)
  {
    Error_Handler();
  }

}

static void MX_TIM4_Init(void)
{

  TIM_ClockConfigTypeDef sClockSourceConfig = {0};
  TIM_MasterConfigTypeDef sMasterConfig = {0};
  TIM_OC_InitTypeDef sConfigOC = {0};

  /* USER CODE BEGIN TIM4_Init 1 */
  //6800-1  , this gives 25khz, f_pwm = fclk/(psc*(arr-1))
  //arr/2-1 = 6800/2-1
  //timer 4 is unused right now since we are using the sinewave from timer 2
  // timer 4 is used for adc trigger event

  /* USER CODE END TIM4_Init 1 */
  htim4.Instance = TIM4;
  htim4.Init.Prescaler = 0;
  htim4.Init.CounterMode = TIM_COUNTERMODE_UP;
  htim4.Init.Period = 6799;
  htim4.Init.ClockDivision = TIM_CLOCKDIVISION_DIV1;
  htim4.Init.AutoReloadPreload = TIM_AUTORELOAD_PRELOAD_ENABLE;
  if (HAL_TIM_Base_Init(&htim4) != HAL_OK)
  {
    Error_Handler();
  }
  sClockSourceConfig.ClockSource = TIM_CLOCKSOURCE_INTERNAL;
  if (HAL_TIM_ConfigClockSource(&htim4, &sClockSourceConfig) != HAL_OK)
  {
    Error_Handler();
  }
  if (HAL_TIM_OC_Init(&htim4) != HAL_OK)
  {
    Error_Handler();
  }
  sMasterConfig.MasterOutputTrigger = TIM_TRGO_UPDATE;
  sMasterConfig.MasterSlaveMode = TIM_MASTERSLAVEMODE_DISABLE;
  if (HAL_TIMEx_MasterConfigSynchronization(&htim4, &sMasterConfig) != HAL_OK)
  {
    Error_Handler();
  }
  sConfigOC.OCMode = TIM_OCMODE_TIMING;
  sConfigOC.Pulse = 3399;
  sConfigOC.OCPolarity = TIM_OCPOLARITY_HIGH;
  sConfigOC.OCFastMode = TIM_OCFAST_DISABLE;
  if (HAL_TIM_OC_ConfigChannel(&htim4, &sConfigOC, TIM_CHANNEL_1) != HAL_OK)
  {
    Error_Handler();
  }

}

static void MX_USART2_UART_Init(void)
{

  huart2.Instance = USART2;
  huart2.Init.BaudRate = 115200;
  huart2.Init.WordLength = UART_WORDLENGTH_8B;
  huart2.Init.StopBits = UART_STOPBITS_1;
  huart2.Init.Parity = UART_PARITY_NONE;
  huart2.Init.Mode = UART_MODE_TX_RX;
  huart2.Init.HwFlowCtl = UART_HWCONTROL_NONE;
  huart2.Init.OverSampling = UART_OVERSAMPLING_16;
  huart2.Init.OneBitSampling = UART_ONE_BIT_SAMPLE_ENABLE;
  huart2.Init.ClockPrescaler = UART_PRESCALER_DIV1;
  huart2.AdvancedInit.AdvFeatureInit = UART_ADVFEATURE_NO_INIT;
  if (HAL_UART_Init(&huart2) != HAL_OK)
  {
    Error_Handler();
  }
  if (HAL_UARTEx_SetTxFifoThreshold(&huart2, UART_TXFIFO_THRESHOLD_1_8) != HAL_OK)
  {
    Error_Handler();
  }
  if (HAL_UARTEx_SetRxFifoThreshold(&huart2, UART_RXFIFO_THRESHOLD_1_8) != HAL_OK)
  {
    Error_Handler();
  }
  if (HAL_UARTEx_DisableFifoMode(&huart2) != HAL_OK)
  {
    Error_Handler();
  }

}

static void MX_DMA_Init(void)
{

  /* DMA controller clock enable */
  __HAL_RCC_DMAMUX1_CLK_ENABLE();
  __HAL_RCC_DMA1_CLK_ENABLE();
  __HAL_RCC_DMA2_CLK_ENABLE();

  /* DMA interrupt init */
  /* DMA1_Channel1_IRQn interrupt configuration */
  HAL_NVIC_SetPriority(DMA1_Channel1_IRQn, 5, 0);
  HAL_NVIC_EnableIRQ(DMA1_Channel1_IRQn);
  /* DMA1_Channel2_IRQn interrupt configuration */
  HAL_NVIC_SetPriority(DMA1_Channel2_IRQn, 5, 0);
  HAL_NVIC_EnableIRQ(DMA1_Channel2_IRQn);
  /* DMA1_Channel3_IRQn interrupt configuration */
  HAL_NVIC_SetPriority(DMA1_Channel3_IRQn, 5, 0);
  HAL_NVIC_EnableIRQ(DMA1_Channel3_IRQn);
  /* DMA1_Channel4_IRQn interrupt configuration */
  HAL_NVIC_SetPriority(DMA1_Channel4_IRQn, 5, 0);
  HAL_NVIC_EnableIRQ(DMA1_Channel4_IRQn);
  /* DMA1_Channel5_IRQn interrupt configuration */
  HAL_NVIC_SetPriority(DMA1_Channel5_IRQn, 5, 0);
  HAL_NVIC_EnableIRQ(DMA1_Channel5_IRQn);
  /* DMA2_Channel1_IRQn interrupt configuration */
  HAL_NVIC_SetPriority(DMA2_Channel1_IRQn, 5, 0);
  HAL_NVIC_EnableIRQ(DMA2_Channel1_IRQn);
  /* DMA2_Channel2_IRQn interrupt configuration */
  HAL_NVIC_SetPriority(DMA2_Channel2_IRQn, 5, 0);
  HAL_NVIC_EnableIRQ(DMA2_Channel2_IRQn);

}

static void MX_GPIO_Init(void)
{
  GPIO_InitTypeDef GPIO_InitStruct = {0};

  /* GPIO Ports Clock Enable */
  __HAL_RCC_GPIOA_CLK_ENABLE();
  __HAL_RCC_GPIOB_CLK_ENABLE();

  /*Configure GPIO pin Output Level */
  HAL_GPIO_WritePin(GPIOB, GPIO_PIN_4|LD2_Pin, GPIO_PIN_RESET);

  /*Configure GPIO pins : PA5 PA6 */
  GPIO_InitStruct.Pin = GPIO_PIN_5|GPIO_PIN_6;
  GPIO_InitStruct.Mode = GPIO_MODE_INPUT;
  GPIO_InitStruct.Pull = GPIO_NOPULL;
  HAL_GPIO_Init(GPIOA, &GPIO_InitStruct);

  /*Configure GPIO pins : PB4 LD2_Pin */
  GPIO_InitStruct.Pin = GPIO_PIN_4|LD2_Pin;
  GPIO_InitStruct.Mode = GPIO_MODE_OUTPUT_PP;
  GPIO_InitStruct.Pull = GPIO_NOPULL;
  GPIO_InitStruct.Speed = GPIO_SPEED_FREQ_LOW;
  HAL_GPIO_Init(GPIOB, &GPIO_InitStruct);

}

/* USER CODE BEGIN 4 */
//adc dma callback function
void HAL_ADC_ConvCpltCallback(ADC_HandleTypeDef *hadc)
{
	//adc_val[0] = HAL_ADC_GetValue(&hadc1);
	//adc_val_f = adc_val;
	HAL_ADC_Start_DMA(&hadc1, (uint32_t*)adc_val, 1);
	return;
}

/* USER CODE END 4 */

void StartDefaultTask(void *argument)
{
  /* USER CODE BEGIN 5 */
  /* Infinite loop */
  for(;;)
  {
	  osMutexAcquire(myMutex01Handle, osWaitForever);
	  //osSemaphoreWait(BinSemHandle, osWaitForever);
	  //getTemp();
	  	  //lcd_disp();
	  	  //uart_dma();

	  	  //scan for user inpt for the state machine

	  	 //inp = *scanInp();
	  	  //wait again so we don't flood the serial terminal
	  	  //HAL_Delay(100);
	  	  inp = RxData[0];
	  	  if (inp == 'i')
	  	  {
	  		  State = IDLE;
	  	  }
	  	  else if (inp == 's')
	  	  {
	  		  State = START;
	  	  }
	  	  else if (inp == 't')
	  	  {
	  		  State = STOP;
	  	  }else{};

	  	  //State Machine starts here
	  	  switch (State)
	  	  {
	  	  case IDLE:
	  		  //lcd_init();
	  		 // uart_buf_len = sprintf(uart_buf, "In IDLE state\r\n");
	  		  //printf("In IDLE State\r\n");
	  		  //HAL_UART_Transmit(&huart2, (uint8_t *)uart_buf, uart_buf_len, 100);
	  		  //HAL_GPIO_WritePin(GPIOB, GPIO_PIN_4, GPIO_PIN_RESET); /// disable nShutdown pin for digital amp
	  		  //startSpeaker(0); //turn off speaker
	  		  startSineW(0); //using sinewave instead
	  		  RxData[0] = '\0';

	  		  //osDelay(10);

	  		  break;

	  	  case START:
	  		  //nShutdownDamp = 1; // start digital amplifier
	  		  //HAL_GPIO_WritePin(GPIOB, GPIO_PIN_4, GPIO_PIN_SET);
	  		  //printf("In START State\r\n"); // print status in terminal
	  		  //startSpeaker(1);
	  		  startSineW(1); //using sinewave instead
	  		  //uart_buf_len = sprintf(uart_buf, "In Start State\r\n");
	  		  //HAL_UART_Transmit(&huart2, (uint8_t *)uart_buf, uart_buf_len, 100);
	  		  /*the following is use to do pulse output and measure the very beginning****
	  		  //HAL_Delay(100);  //wait 20ms
	  		  //startSpeaker(0);
	  		   */
	  		  v_sound = roundf ((331.5+0.607*temp)*10000)/10000; // only capturing temp once

	  		  pulseW_base = pulseW_avg;
	  		  cal_val = DIST/(pulseW_avg*v_sound);  //get the calibration value from the drift and temperature
	  		  lambda = v_sound / FREQ;
	  		  k = DIST / lambda;
	  		  //cal_val = DIST*FREQ/343.f;
	  		 // lcd_init();
	  		  RxData[0] = '\0';
	  		  State = CALTIME;

	  		  break;

	  	  case CALTIME:
	  		  //windspeed_ave();
	  		  //deltaT = *calTime();
	  		  //printf("Delay is = %f\r\n", deltaT);
	  		  //HAL_TIM_IC_CaptureCallback(&htim1);
	  		  //printf("time1 val = %d \r\n", tim1);
	  		  //printf("time2 val = %d \r\n", tim2);
	  		  //printf("delay is %ld\r\n", deltaT);
	  		  //printf("pulseW is %.8f\r\n", pulseW);
	  		  //printf("windspeed is %f\r\n", windspeed);
	  		  //HAL_Delay(1000);  //wait 100ms
	  		  //State = START;
	  		  pulseWavg(pulseW);
	  		  break;

	  	  case STOP:
	  		  //nShutdownDamp = 0; //stop digital amplifier
	  		  //startSpeaker(0);
	  		  startSineW(0); //using sinewave instead
	  		  printf("In STOP State\r\n"); // print status in terminal
	  		  lcd_init();
	  		  lcd_put_cur(0,0);
	  		  lcd_send_string("W_vel[m/s]=");
	  		  HAL_TIM_PWM_Stop_DMA(&htim1, TIM_CHANNEL_1);
	  		  HAL_Delay(100);  //wait 100ms
	  		  break;

	  	  default:
	  		  /*uart_buf_len = sprintf(uart_buf, "In Default State\r\n");
	    		  HAL_UART_Transmit(&huart2, (uint8_t *)uart_buf, uart_buf_len, 100);*/
	  		  printf("In DEFAULT State\r\n"); // print status in terminal
	  		  HAL_Delay(100);  //wait 100ms
	  		  break;

	  	  }
	  	  //osSemaphoreRelease(BinSemHandle);
	  	osMutexRelease(myMutex01Handle);
    osDelay(1);
  }
  /* USER CODE END 5 */
}

void StartgetTemp(void *argument)
{
  /* USER CODE BEGIN StartgetTemp */
  /* Infinite loop */
	for(;;)
	{
		osMutexAcquire(myMutex01Handle, osWaitForever);
		//osSemaphoreWait(BinSemHandle, osWaitForever); // it is osSemaphoreAcquire instead of osSemaphoreWait
		getTemp();
		// osSemaphoreRelease(BinSemHandle);
		osMutexRelease(myMutex01Handle);
		osDelay(10);
	}
  /* USER CODE END StartgetTemp */
}

void StartsendLCD(void *argument)
{
  /* USER CODE BEGIN StartsendLCD */
  /* Infinite loop */
	for(;;)
	{
		osMutexAcquire(myMutex01Handle, osWaitForever);
		//osSemaphoreWait(BinSemHandle, osWaitForever); // it is osSemaphoreAcquire instead of osSemaphoreWait
		lcd_disp();
		//osSemaphoreRelease(BinSemHandle);
		osMutexRelease(myMutex01Handle);
		osDelay(10);
	}
  /* USER CODE END StartsendLCD */
}

/*void StartgetPulseW(void *argument)
{
   USER CODE BEGIN StartgetPulseW
   Infinite loop
  for(;;)
  {
	  osMutexAcquire(myMutex01Handle, osWaitForever);
	  if (isMeasured)
	  {
		  TIM1->CNT = 0;
		 HAL_TIM_IC_Start_DMA(&htim1, TIM_CHANNEL_1, riseData, numval);
		 HAL_TIM_IC_Start_DMA(&htim1, TIM_CHANNEL_2, fallData, numval);
	  isMeasured = 0;
	  }

	  osMutexRelease(myMutex01Handle);
	  osDelay(10);
  }
   USER CODE END StartgetPulseW
}*/

void HAL_TIM_PeriodElapsedCallback(TIM_HandleTypeDef *htim)
{
  if (htim->Instance == TIM3) {
    HAL_IncTick();
  }
}

void Error_Handler(void)
{
  __disable_irq();
  while (1)
  {
  }
}
